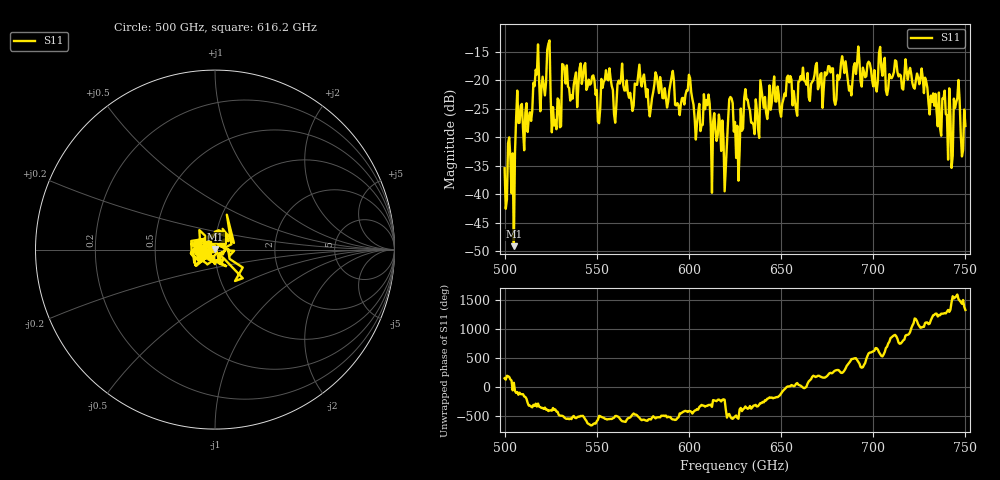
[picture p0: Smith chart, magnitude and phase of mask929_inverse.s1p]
!Created with skrf (http://scikit-rf.org).
# GHz S MA R 50.0
!freq magS11 angS11
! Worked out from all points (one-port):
!   401 points, 500 GHz to 750 GHz, reference 50 ohm
!   lowest |S11| = -49.2 dB at 505 GHz (marker M1), VSWR 1.01, Z = 50.1 + j0.327 ohm
!   |S11| at or under -10 dB: start of sweep to end of sweep
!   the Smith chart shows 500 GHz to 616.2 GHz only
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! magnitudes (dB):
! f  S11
! 500 GHz  -35.5
! 505 GHz  -49.2
! 507.5 GHz  -27.5
! 513.8 GHz  -25.7
! 516.9 GHz  -18.2
! 520.6 GHz  -19.4
! 523.8 GHz  -13.7
! 526.9 GHz  -28.0
! 531.2 GHz  -17.2
! 542.5 GHz  -19.4
! 550.6 GHz  -27.3
! 562.5 GHz  -20.6
! 579.4 GHz  -24.8
! 590.6 GHz  -19.4
! 593.8 GHz  -24.1
! 609.4 GHz  -23.5
! 618.8 GHz  -30.4
! 622.5 GHz  -23.0
! 625 GHz  -27.4
! 656.2 GHz  -24.4
! 680 GHz  -23.4
! 683.8 GHz  -17.1
! 687.5 GHz  -21.1
! 718.8 GHz  -19.9
! 738.8 GHz  -21.9
! 741.9 GHz  -26.2
! 745 GHz  -23.9
! 750 GHz  -28.1
